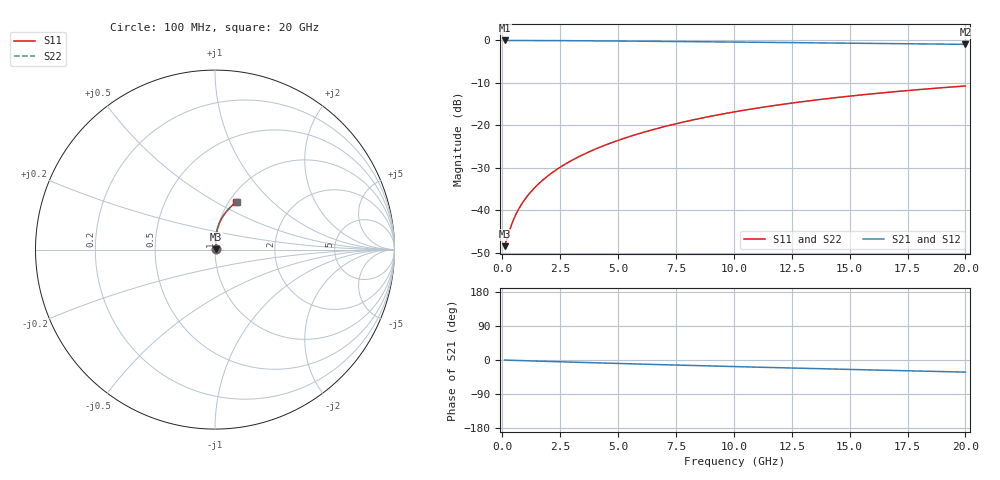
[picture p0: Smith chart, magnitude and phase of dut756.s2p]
! Touchstone file exported from HFSS 2024.1.0
!  File:  C:/UserFiles/LocalFiles/RDL_TSV_Batchsim/temp_RDL_top_756_1779852025.aedt
!  Generated:  11:22:47 AM May 27, 2026
!  Design:  RDL_top
!  Project:  temp_RDL_top_756_1779852025
!  Setup:  Setup1
!  Solution:  Sweep
! Variables:
!  dtsv = 10.80580581um
!  hbump = 3um
!  htsv = 70.52um
!  ldown = 100um
!  lrdl = 447.73um
!  p = 40
!  p1 = 45.89um
!  rhole = 1um
!  t = 450um
!  tdown = 3.915915916um
!  trdl = 2.13um
!  wdown = 15.38538539um
!  wrdl = 23.75um
# GHz S MA R 50.000000
! Terminal data exported
! Port[1] = Box2_T1
! Port[2] = Box2_T2
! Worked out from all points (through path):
!   200 points, 100 MHz to 20 GHz, reference 50 ohm
!   highest |S21| = -0.03 dB at 100 MHz (marker M1); lowest = -0.9 dB at 20 GHz (marker M2)
!   group delay of S21, straight-line fit = 4.4 ps
!   lowest |S11| = -48.4 dB at 100 MHz (marker M3), VSWR 1.01, Z = 50.4 + j0.146 ohm
!   |S11| at or under -10 dB: start of sweep to end of sweep
!   |S22| runs from -48.4 to -10.8 dB; largest |S21 - S12| = 3.4e-15
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0.1  0.003784 22.5  0.9965 -0.2  0.9965 -0.2  0.003784 22.5
! Gamma 0 0 0 0
! Port Impedance 50 0 50 0
0.3  0.005636 48.8  0.9962 -0.6  0.9962 -0.6  0.005636 48.8
0.4  0.006769 55.4  0.996 -0.8  0.996 -0.8  0.006769 55.4
0.6  0.009087 63.2  0.9956 -1.2  0.9956 -1.2  0.009087 63.2
0.7  0.01025 65.9  0.9955 -1.4  0.9955 -1.4  0.01025 65.9
0.9  0.01257 69.8  0.9951 -1.7  0.9951 -1.7  0.01257 69.8
1.2  0.01608 74.0  0.9945 -2.3  0.9945 -2.3  0.01608 74.0
1.4  0.01846 76.0  0.9941 -2.7  0.9941 -2.7  0.01846 76.0
1.7  0.02209 78.3  0.9935 -3.2  0.9935 -3.2  0.02209 78.3
2.2  0.02831 81.0  0.9923 -4.1  0.9923 -4.1  0.02831 81.0
2.8  0.03602 83.1  0.9905 -5.2  0.9905 -5.2  0.03601 83.0
3.5  0.04535 84.5  0.988 -6.5  0.988 -6.5  0.04534 84.4
4.2  0.05502 85.2  0.9852 -7.7  0.9852 -7.7  0.05501 85.2
5  0.06647 85.5  0.9816 -9.1  0.9816 -9.1  0.06645 85.5
5.9  0.07978 85.4  0.9772 -10.7  0.9772 -10.7  0.07976 85.4
6.8  0.09346 84.9  0.9726 -12.2  0.9726 -12.2  0.09342 84.8
8.4  0.1184 83.3  0.9639 -14.8  0.9639 -14.8  0.1183 83.2
10.1  0.1452 81.0  0.9543 -17.5  0.9543 -17.5  0.1451 81.0
11.7  0.1703 78.6  0.9452 -20.0  0.9452 -20.0  0.1701 78.6
13.4  0.1964 76.0  0.9354 -22.5  0.9354 -22.5  0.1963 75.9
16.7  0.2451 70.7  0.9162 -27.3  0.9162 -27.3  0.2449 70.7
20  0.2903 65.6  0.8969 -32.0  0.8969 -32.0  0.29 65.6
